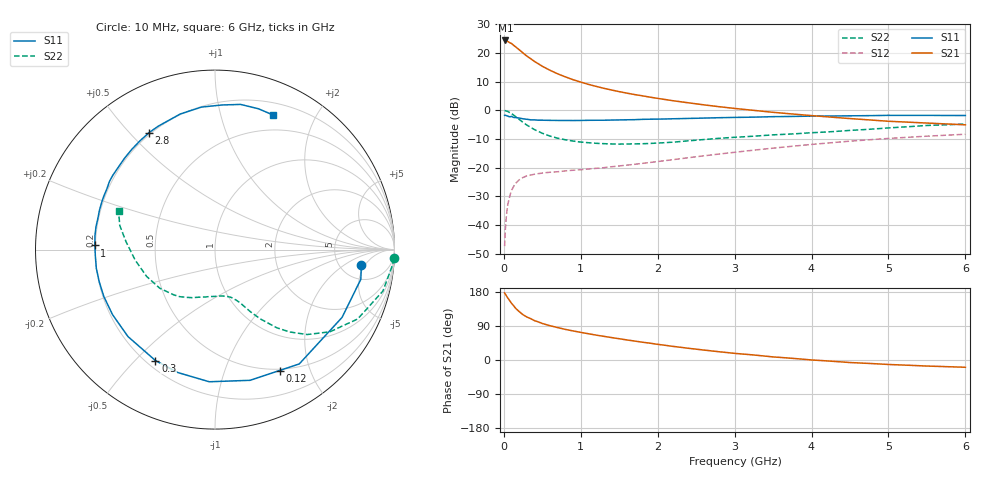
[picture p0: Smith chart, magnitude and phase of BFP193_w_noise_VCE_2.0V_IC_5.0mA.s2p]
! Infineon Technologies  Discrete & RF Semiconductors
! BFP193
! VCE =  2.0 V,  IC =  5.0 mA
! Common Emitter S-Parameters:  Jan 2017
# GHz  S  MA  R  50
!  f  S11  S21  S12  S22
! GHz  MAG  ANG  MAG  ANG  MAG  ANG  MAG  ANG
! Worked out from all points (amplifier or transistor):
!   77 points, 10 MHz to 6 GHz, reference 50 ohm
!   highest |S21| = 24.4 dB at 20 MHz (marker M1)
!   |S21| within 3 dB of that: start of sweep to 188.5 MHz
!   unconditionally stable (mu >= 1): 1.376 GHz to 2.771 GHz
!   at 130 MHz: K = 0.14, MSG = 24.5 dB, |S12| = -26.4 dB
!   at 2.2 GHz: K = 1.07, MAG = 8.6 dB, |S12| = -17.2 dB
!   at 6 GHz: K = 0.91, MSG = 1.6 dB, |S12| = -8.3 dB
!   lowest NFmin = 0.92 dB at 450 MHz
!   S11 on the Smith chart (normalised r, x): 10 MHz: 7.97, -4.10; 120 MHz: 0.48, -1.56; 300 MHz: 0.24, -0.57; 1 GHz: 0.20, +0.02; 2.8 GHz: 0.19, +0.57; 6 GHz: 0.33, +1.47
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0.01  0.8199 -5.9  16.44 176.9  0.0043 83.9  1 -2.8
0.02  0.8291 -11.5  16.62 173.7  0.0085 88.8  0.9889 -5.8
0.05  0.8024 -28.1  16 163.9  0.0222 75.5  0.9635 -13.9
0.1  0.7913 -53.6  14.71 149.5  0.0403 65.2  0.8842 -25.9
0.12  0.7636 -61.9  13.94 145.0  0.0453 60.2  0.8425 -29.5
0.15  0.754 -75.0  12.97 137.2  0.0533 54.6  0.7871 -35.6
0.2  0.737 -92.5  11.43 127.6  0.0617 47.4  0.6978 -42.7
0.25  0.7156 -106.8  10.04 119.4  0.0679 41.9  0.6195 -47.8
0.3  0.7016 -118.2  8.864 113.4  0.0724 38.1  0.5547 -51.7
0.4  0.6855 -135.0  7.131 103.7  0.0774 33.9  0.4618 -56.8
0.5  0.6762 -147.6  5.893 96.4  0.081 31.6  0.4002 -60.2
0.6  0.6722 -157.1  5.023 90.5  0.0837 30.2  0.3574 -62.7
0.7  0.6694 -164.5  4.353 85.5  0.0854 30.2  0.328 -64.7
1  0.6696 178.0  3.121 72.9  0.0926 32.1  0.2808 -71.4
1.1  0.6734 173.4  2.851 69.3  0.0953 33.1  0.2738 -73.8
1.5  0.6838 157.6  2.128 56.1  0.1078 37.1  0.2591 -85.5
2.1  0.7103 137.8  1.549 38.7  0.1336 41.5  0.2747 -105.5
2.8  0.7479 119.5  1.162 21.7  0.1739 42.1  0.3272 -126.7
3.1  0.7593 112.7  1.052 15.8  0.1931 40.7  0.3463 -135.0
4.1  0.798 93.8  0.794 -1.1  0.2625 33.4  0.4151 -161.6
5.1  0.8203 78.6  0.639 -12.6  0.3312 22.4  0.5055 173.2
6  0.8168 66.6  0.562 -19.2  0.3848 11.6  0.5797 158.0
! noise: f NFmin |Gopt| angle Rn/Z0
0.45  0.92  0.28  104  0.1
0.9  1.03  0.39  150  0.07
1.9  1.97  0.61  -151  0.13
2.4  2.42  0.67  -131  0.35
